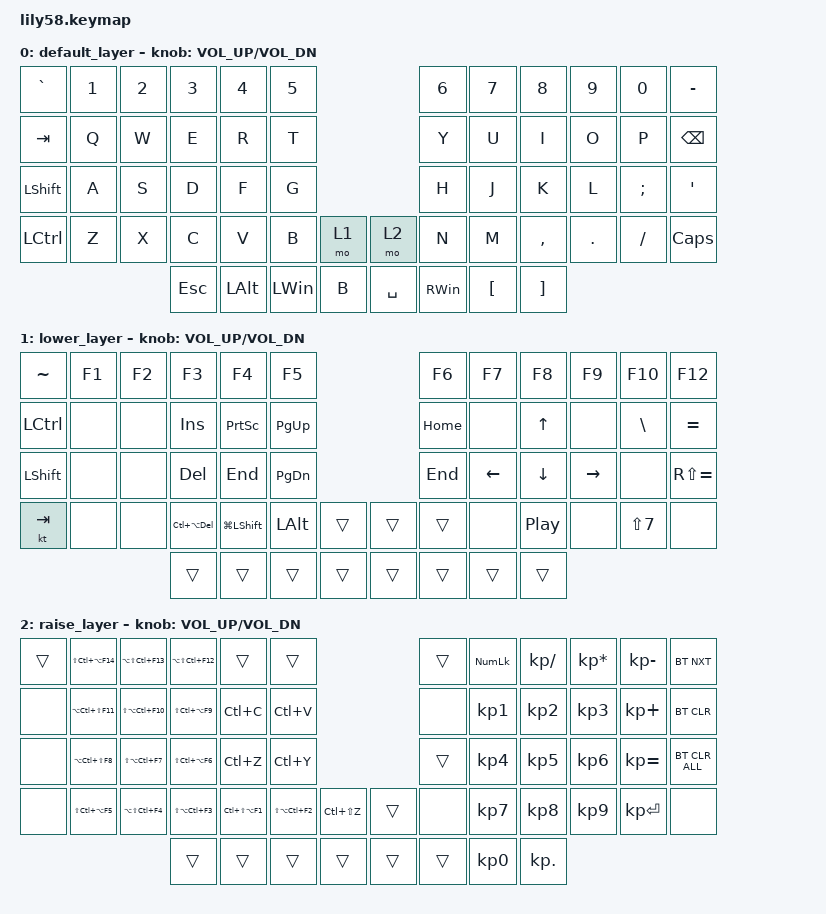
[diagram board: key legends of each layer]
/*
 * Copyright (c) 2020 The ZMK Contributors
 *
 * SPDX-License-Identifier: MIT
 */

#include <behaviors.dtsi>
#include <dt-bindings/zmk/bt.h>
#include <dt-bindings/zmk/keys.h>

/ {
    combos { compatible = "zmk,combos"; };

    behaviors {
        ss_hs_modmorph: ss_hs_modmorph {
            compatible = "zmk,behavior-mod-morph";
            label = "SS_HS_MODMORPH";
            bindings = <&kp M>, <&kp RIGHT_BRACKET>;

            #binding-cells = <0>;
            mods = <(MOD_LSFT|MOD_RSFT)>;
        };

        kh_hs_tapdance: kh_hs_tapdance {
            compatible = "zmk,behavior-tap-dance";
            label = "KH_HS_TAPDANCE";
            #binding-cells = <0>;
            tapping-term-ms = <200>;
            bindings = <&kp LEFT_BRACKET>, <&kp RIGHT_BRACKET>;
        };

        hrm: hrm {
            compatible = "zmk,behavior-hold-tap";
            #binding-cells = <2>;
            flavor = "tap-preferred";
            tapping-term-ms = <200>;
            quick-tap-ms = <200>;
            require-prior-idle-ms = <125>;
            bindings = <&kp>, <&kp>;
        };
    };

    keymap {
        compatible = "zmk,keymap";

        default_layer {
            // ------------------------------------------------------------------------------------------------------------
            // |  ESC  |  1  |  2  |  3   |  4   |  5   |                   |  6   |  7    |  8    |  9   |   0   |   `   |
            // |  TAB  |  Q  |  W  |  E   |  R   |  T   |                   |  Y   |  U    |  I    |  O   |   P   |   -   |
            // |  CTRL |  A  |  S  |  D   |  F   |  G   |                   |  H   |  J    |  K    |  L   |   ;   |   '   |
            // | SHIFT |  Z  |  X  |  C   |  V   |  B   |   "["  |  |  "]"  |  N   |  M    |  ,    |  .   |   /   | SHIFT |
            //                     | ALT  | GUI  | LOWER|  SPACE |  | ENTER | RAISE| BSPC  | GUI   |

            bindings = <
&kp GRAVE   &kp N1  &kp N2  &kp N3   &kp N4        &kp N5                            &kp N6         &kp N7            &kp N8             &kp N9   &kp N0    &kp MINUS
&kp TAB     &kp Q   &kp W   &kp E    &kp R         &kp T                             &kp Y          &kp U             &kp I              &kp O    &kp P     &kp BACKSPACE
&kp LSHIFT  &kp A   &kp S   &kp D    &kp F         &kp G                             &kp H          &kp J             &kp K              &kp L    &kp SEMI  &kp SQT
&kp LCTRL   &kp Z   &kp X   &kp C    &kp V         &kp B         &mo 1    &mo 2      &kp N          &kp M             &kp COMMA          &kp DOT  &kp FSLH  &kp CAPSLOCK
                            &kp ESC  &kp LEFT_ALT  &kp LEFT_WIN  &kp B    &kp SPACE  &kp RIGHT_WIN  &kp LEFT_BRACKET  &kp RIGHT_BRACKET
            >;

            sensor-bindings = <&inc_dec_kp C_VOL_UP C_VOL_DN>;
        };

        lower_layer {
            // ------------------------------------------------------------------------------------------------------------
            // | BTCLR | BT1 | BT2 |  BT3 |  BT4 |  BT5 |                   |      |       |       |      |       |       |
            // |  F1   |  F2 |  F3 |  F4  |  F5  |  F6  |                   |  F7  |  F8   |  F9   |  F10 |  F11  |  F12  |
            // |   `   |  !  |  @  |  #   |  $   |  %   |                   |  ^   |  &    |  *    |  (   |   )   |   ~   |
            // |       |     |     |      |      |      |        |  |       |      |  _    |  +    |  {   |   }   |  "|"  |
            //                     |      |      |      |        |  |       |      |       |       |

            bindings = <
&kp TILDE  &kp F1  &kp F2  &kp F3           &kp F4              &kp F5                           &kp F6    &kp F7          &kp F8            &kp F9           &kp F10        &kp F12
&kp LCTRL  &none   &none   &kp INSERT       &kp PRINTSCREEN     &kp PAGE_UP                      &kp HOME  &none           &kp UP_ARROW      &none            &kp BACKSLASH  &kp EQUAL
&kp LSHFT  &none   &none   &kp DELETE       &kp END             &kp PAGE_DOWN                    &kp END   &kp LEFT_ARROW  &kp DOWN_ARROW    &kp RIGHT_ARROW  &none          &kp RS(EQUAL)
&kt TAB    &none   &none   &kp LC(LA(DEL))  &kp LG(LEFT_SHIFT)  &kp LEFT_ALT   &trans    &trans  &trans    &none           &kp C_PLAY_PAUSE  &none            &kp LS(N7)     &none
                           &trans           &trans              &trans         &trans    &trans  &trans    &trans          &trans
            >;

            sensor-bindings = <&inc_dec_kp C_VOL_UP C_VOL_DN>;
        };

        raise_layer {
            // ------------------------------------------------------------------------------------------------------------
            // |       |     |     |      |      |      |                   |      |       |       |      |       |       |
            // |   `   |  1  |  2  |  3   |  4   |  5   |                   |  6   |   7   |   8   |  9   |   0   |       |
            // |   F1  |  F2 |  F3 |  F4  |  F5  |  F6  |                   |      |   <-  |   v   |  ^   |  ->   |       |
            // |   F7  |  F8 |  F9 |  F10 |  F11 |  F12 |        |  |       |  +   |   -   |   =   |  [   |   ]   |   \   |
            //                     |      |      |      |        |  |       |      |       |       |

            bindings = <
&trans  &kp LS(LC(LA(F14)))  &kp LA(LS(LC(F13)))  &kp LA(LS(LC(F12)))  &trans              &trans                                       &trans  &kp KP_NUMLOCK   &kp KP_DIVIDE    &kp KP_ASTERISK  &kp KP_MINUS  &bt BT_NXT
&none   &kp LA(LC(LS(F11)))  &kp LS(LA(LC(F10)))  &kp LS(LC(LA(F9)))   &kp LC(C)           &kp LC(V)                                    &none   &kp KP_NUMBER_1  &kp KP_NUMBER_2  &kp KP_NUMBER_3  &kp KP_PLUS   &bt BT_CLR
&none   &kp LA(LC(LS(F8)))   &kp LS(LA(LC(F7)))   &kp LS(LC(LA(F6)))   &kp LC(Z)           &kp LC(Y)                                    &trans  &kp KP_NUMBER_4  &kp KP_NUMBER_5  &kp KP_NUMBER_6  &kp KP_EQUAL  &bt BT_CLR_ALL
&none   &kp LS(LC(LA(F5)))   &kp LA(LS(LC(F4)))   &kp LS(LA(LC(F3)))   &kp LC(LS(LA(F1)))  &kp LS(LA(LC(F2)))  &kp LC(LS(Z))    &trans  &none   &kp KP_NUMBER_7  &kp KP_NUMBER_8  &kp KP_NUMBER_9  &kp KP_ENTER  &none
                                                  &trans               &trans              &trans              &trans           &trans  &trans  &kp KP_NUMBER_0  &kp KP_DOT
            >;

            sensor-bindings = <&inc_dec_kp C_VOL_UP C_VOL_DN>;
        };
    };

    conditional_layers { compatible = "zmk,conditional-layers"; };
};
